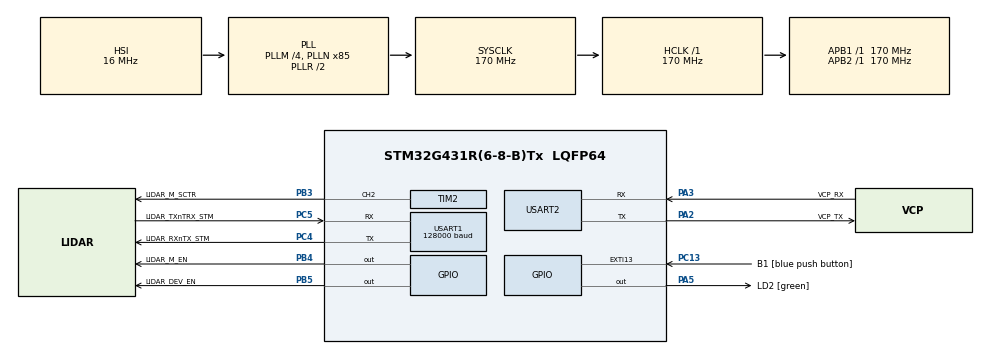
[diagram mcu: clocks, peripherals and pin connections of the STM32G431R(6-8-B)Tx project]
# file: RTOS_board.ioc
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Dma.Request0=USART2_TX
Dma.Request1=USART1_TX
Dma.Request2=USART1_RX
Dma.USART1_RX.2.Direction=DMA_PERIPH_TO_MEMORY
Dma.USART1_RX.2.EventEnable=DISABLE
Dma.USART1_RX.2.Instance=DMA1_Channel2
Dma.USART1_RX.2.MemDataAlignment=DMA_MDATAALIGN_BYTE
Dma.USART1_RX.2.MemInc=DMA_MINC_ENABLE
Dma.USART1_RX.2.Mode=DMA_CIRCULAR
Dma.USART1_RX.2.PeriphDataAlignment=DMA_PDATAALIGN_BYTE
Dma.USART1_RX.2.PeriphInc=DMA_PINC_DISABLE
Dma.USART1_RX.2.Polarity=HAL_DMAMUX_REQ_GEN_RISING
Dma.USART1_RX.2.Priority=DMA_PRIORITY_VERY_HIGH
Dma.USART1_RX.2.RequestNumber=1
Dma.USART1_RX.2.SignalID=NONE
Dma.USART1_RX.2.SyncEnable=DISABLE
Dma.USART1_RX.2.SyncPolarity=HAL_DMAMUX_SYNC_NO_EVENT
Dma.USART1_RX.2.SyncRequestNumber=1
Dma.USART1_RX.2.SyncSignalID=NONE
Dma.USART1_TX.1.Direction=DMA_MEMORY_TO_PERIPH
Dma.USART1_TX.1.EventEnable=DISABLE
Dma.USART1_TX.1.Instance=DMA1_Channel3
Dma.USART1_TX.1.MemDataAlignment=DMA_MDATAALIGN_BYTE
Dma.USART1_TX.1.MemInc=DMA_MINC_ENABLE
Dma.USART1_TX.1.Mode=DMA_NORMAL
Dma.USART1_TX.1.PeriphDataAlignment=DMA_PDATAALIGN_BYTE
Dma.USART1_TX.1.PeriphInc=DMA_PINC_DISABLE
Dma.USART1_TX.1.Polarity=HAL_DMAMUX_REQ_GEN_RISING
Dma.USART1_TX.1.Priority=DMA_PRIORITY_VERY_HIGH
Dma.USART1_TX.1.RequestNumber=1
Dma.USART1_TX.1.SignalID=NONE
Dma.USART1_TX.1.SyncEnable=DISABLE
Dma.USART1_TX.1.SyncPolarity=HAL_DMAMUX_SYNC_NO_EVENT
Dma.USART1_TX.1.SyncRequestNumber=1
Dma.USART1_TX.1.SyncSignalID=NONE
Dma.USART2_TX.0.Direction=DMA_MEMORY_TO_PERIPH
Dma.USART2_TX.0.EventEnable=DISABLE
Dma.USART2_TX.0.Instance=DMA1_Channel1
Dma.USART2_TX.0.MemDataAlignment=DMA_MDATAALIGN_BYTE
Dma.USART2_TX.0.MemInc=DMA_MINC_ENABLE
Dma.USART2_TX.0.Mode=DMA_NORMAL
Dma.USART2_TX.0.PeriphDataAlignment=DMA_PDATAALIGN_BYTE
Dma.USART2_TX.0.PeriphInc=DMA_PINC_DISABLE
Dma.USART2_TX.0.Polarity=HAL_DMAMUX_REQ_GEN_RISING
Dma.USART2_TX.0.Priority=DMA_PRIORITY_HIGH
Dma.USART2_TX.0.RequestNumber=1
Dma.USART2_TX.0.SignalID=NONE
Dma.USART2_TX.0.SyncEnable=DISABLE
Dma.USART2_TX.0.SyncPolarity=HAL_DMAMUX_SYNC_NO_EVENT
Dma.USART2_TX.0.SyncRequestNumber=1
Dma.USART2_TX.0.SyncSignalID=NONE
FREERTOS.Tasks01=defaultTask,0,128,StartDefaultTask,Default,NULL,Dynamic,NULL,NULL
FREERTOS.configUSE_NEWLIB_REENTRANT=1
Mcu.Family=STM32G4
Mcu.Name=STM32G431R(6-8-B)Tx
Mcu.Package=LQFP64
NVIC.DMA1_Channel1_IRQn=true\:5\:0\:false\:false\:true\:true\:false\:true\:true
NVIC.DMA1_Channel2_IRQn=true\:5\:0\:false\:false\:true\:true\:false\:true\:true
NVIC.DMA1_Channel3_IRQn=true\:5\:0\:false\:false\:true\:true\:false\:true\:true
NVIC.PriorityGroup=NVIC_PRIORITYGROUP_4
NVIC.TIM1_UP_TIM16_IRQn=true\:15\:0\:false\:false\:true\:false\:false\:true\:true
NVIC.TimeBase=TIM1_UP_TIM16_IRQn
NVIC.TimeBaseIP=TIM1
NVIC.USART1_IRQn=true\:5\:0\:false\:false\:true\:true\:true\:true\:true
PA13.GPIO_Label=T_SWDIO
PA13.Mode=Serial_Wire
PA13.Signal=SYS_JTMS-SWDIO
PA14.GPIO_Label=T_SWCLK
PA14.Mode=Serial_Wire
PA14.Signal=SYS_JTCK-SWCLK
PA2.GPIO_Label=VCP_TX
PA2.Mode=Asynchronous
PA2.Signal=USART2_TX
PA3.GPIO_Label=VCP_RX
PA3.Mode=Asynchronous
PA3.Signal=USART2_RX
PA5.GPIO_Label=LD2 [green]
PA5.Signal=GPIO_Output
PB3.GPIO_Label=LIDAR_M_SCTR
PB3.Signal=S_TIM2_CH2
PB4.GPIO_Label=LIDAR_M_EN
PB4.Signal=GPIO_Output
PB5.GPIO_Label=LIDAR_DEV_EN
PB5.Signal=GPIO_Output
PC13.GPIO_Label=B1 [blue push button]
PC13.Signal=GPXTI13
PC14-OSC32_IN.GPIO_Label=RCC_OSC32_OUT
PC14-OSC32_IN.Signal=RCC_OSC32_IN
PC15-OSC32_OUT.GPIO_Label=RCC_OSC32_OUT
PC15-OSC32_OUT.Signal=RCC_OSC32_OUT
PC4.GPIO_Label=LIDAR_RXnTX_STM
PC4.Mode=Asynchronous
PC4.Signal=USART1_TX
PC5.GPIO_Label=LIDAR_TXnTRX_STM
PC5.Mode=Asynchronous
PC5.Signal=USART1_RX
PF0-OSC_IN.GPIO_Label=RCC_OSC_IN
PF0-OSC_IN.Mode=HSE-External-Oscillator
PF0-OSC_IN.Signal=RCC_OSC_IN
PF1-OSC_OUT.GPIO_Label=RCC_OSC_OUT
PF1-OSC_OUT.Mode=HSE-External-Oscillator
PF1-OSC_OUT.Signal=RCC_OSC_OUT
ProjectManager.HeapSize=0x200
ProjectManager.StackSize=0x400
ProjectManager.TargetToolchain=STM32CubeIDE
RCC.ADC12Freq_Value=170000000
RCC.AHBFreq_Value=170000000
RCC.APB1Freq_Value=170000000
RCC.APB1TimFreq_Value=170000000
RCC.APB2Freq_Value=170000000
RCC.APB2TimFreq_Value=170000000
RCC.CortexFreq_Value=170000000
RCC.EXTERNAL_CLOCK_VALUE=12288000
RCC.HCLKFreq_Value=170000000
RCC.HSE_VALUE=24000000
RCC.HSI48_VALUE=48000000
RCC.HSI_VALUE=16000000
RCC.LSE_VALUE=32768
RCC.PLLM=RCC_PLLM_DIV4
RCC.PLLN=85
RCC.RTCClockSelection=RCC_RTCCLKSOURCE_LSE
RCC.SYSCLKFreq_VALUE=170000000
RCC.SYSCLKSource=RCC_SYSCLKSOURCE_PLLCLK
RCC.USBFreq_Value=170000000
RCC.VCOOutputFreq_Value=340000000
SH.S_TIM2_CH2.0=TIM2_CH2,PWM Generation2 CH2
TIM2.AutoReloadPreload=TIM_AUTORELOAD_PRELOAD_ENABLE
TIM2.Channel-PWM\ Generation2\ CH2=TIM_CHANNEL_2
TIM2.PeriodNoDither=170000-1
TIM2.PulseNoDither_2=85000
USART1.BaudRate=128000
USART1.SwapParam=ADVFEATURE_SWAP_DISABLE
USART1.VirtualMode-Asynchronous=VM_ASYNC
USART2.VirtualMode-Asynchronous=VM_ASYNC
VP_FREERTOS_VS_CMSIS_V1.Mode=CMSIS_V1
VP_SYS_VS_DBSignals.Mode=DisableDeadBatterySignals
VP_SYS_VS_tim1.Mode=TIM1
VP_TIM2_VS_ClockSourceINT.Mode=Internal
board=NUCLEO-G431RB

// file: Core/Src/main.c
/* USER CODE BEGIN Header */
/**
  ******************************************************************************
  * @file           : main.c
  * @brief          : Main program body
  ******************************************************************************
  * @attention
  *
  * Copyright (c) 2024 STMicroelectronics.
  * All rights reserved.
  *
  * This software is licensed under terms that can be found in the LICENSE file
  * in the root directory of this software component.
  * If no LICENSE file comes with this software, it is provided AS-IS.
  *
  ******************************************************************************
  */
/* USER CODE END Header */
#include "main.h"
#include "cmsis_os.h"
#include "dma.h"
#include "tim.h"
#include "usart.h"
#include "gpio.h"

/* USER CODE BEGIN PM */
int __io_putchar(int ch)
{
	HAL_UART_Transmit(&huart2, (uint8_t*)&ch, 1, HAL_MAX_DELAY);
	return ch;
}
/* USER CODE END PM */

void SystemClock_Config(void);
void MX_FREERTOS_Init(void);

int main(void)
{

  /* MCU Configuration--------------------------------------------------------*/

  /* Reset of all peripherals, Initializes the Flash interface and the Systick. */
  HAL_Init();

  /* Configure the system clock */
  SystemClock_Config();

  /* Initialize all configured peripherals */
  MX_GPIO_Init();
  MX_DMA_Init();
  MX_TIM2_Init();
  MX_USART1_UART_Init();
  MX_USART2_UART_Init();

  /* Call init function for freertos objects (in cmsis_os2.c) */
  MX_FREERTOS_Init();

  /* Start scheduler */
  osKernelStart();

  /* We should never get here as control is now taken by the scheduler */

  /* Infinite loop */
  while (1)
  {

  }
}

void SystemClock_Config(void)
{
  RCC_OscInitTypeDef RCC_OscInitStruct = {0};
  RCC_ClkInitTypeDef RCC_ClkInitStruct = {0};

  /** Configure the main internal regulator output voltage
  */
  HAL_PWREx_ControlVoltageScaling(PWR_REGULATOR_VOLTAGE_SCALE1_BOOST);

  /** Initializes the RCC Oscillators according to the specified parameters
  * in the RCC_OscInitTypeDef structure.
  */
  RCC_OscInitStruct.OscillatorType = RCC_OSCILLATORTYPE_HSI;
  RCC_OscInitStruct.HSIState = RCC_HSI_ON;
  RCC_OscInitStruct.HSICalibrationValue = RCC_HSICALIBRATION_DEFAULT;
  RCC_OscInitStruct.PLL.PLLState = RCC_PLL_ON;
  RCC_OscInitStruct.PLL.PLLSource = RCC_PLLSOURCE_HSI;
  RCC_OscInitStruct.PLL.PLLM = RCC_PLLM_DIV4;
  RCC_OscInitStruct.PLL.PLLN = 85;
  RCC_OscInitStruct.PLL.PLLP = RCC_PLLP_DIV2;
  RCC_OscInitStruct.PLL.PLLQ = RCC_PLLQ_DIV2;
  RCC_OscInitStruct.PLL.PLLR = RCC_PLLR_DIV2;
  if (HAL_RCC_OscConfig(&RCC_OscInitStruct) != HAL_OK)
  {
    Error_Handler();
  }

  /** Initializes the CPU, AHB and APB buses clocks
  */
  RCC_ClkInitStruct.ClockType = RCC_CLOCKTYPE_HCLK|RCC_CLOCKTYPE_SYSCLK
                              |RCC_CLOCKTYPE_PCLK1|RCC_CLOCKTYPE_PCLK2;
  RCC_ClkInitStruct.SYSCLKSource = RCC_SYSCLKSOURCE_PLLCLK;
  RCC_ClkInitStruct.AHBCLKDivider = RCC_SYSCLK_DIV1;
  RCC_ClkInitStruct.APB1CLKDivider = RCC_HCLK_DIV1;
  RCC_ClkInitStruct.APB2CLKDivider = RCC_HCLK_DIV1;

  if (HAL_RCC_ClockConfig(&RCC_ClkInitStruct, FLASH_LATENCY_4) != HAL_OK)
  {
    Error_Handler();
  }
}

void HAL_TIM_PeriodElapsedCallback(TIM_HandleTypeDef *htim)
{
  if (htim->Instance == TIM1) {
    HAL_IncTick();
  }
}

void Error_Handler(void)
{
  __disable_irq();
  while (1)
  {
  }
}

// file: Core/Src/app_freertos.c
/* USER CODE BEGIN Header */
/**
 ******************************************************************************
 * File Name          : app_freertos.c
 * Description        : Code for freertos applications
 ******************************************************************************
 * @attention
 *
 * Copyright (c) 2024 STMicroelectronics.
 * All rights reserved.
 *
 * This software is licensed under terms that can be found in the LICENSE file
 * in the root directory of this software component.
 * If no LICENSE file comes with this software, it is provided AS-IS.
 *
 ******************************************************************************
 */
/* USER CODE END Header */

#include "FreeRTOS.h"
#include "task.h"
#include "main.h"
#include "cmsis_os.h"

/* USER CODE BEGIN Includes */
#include "shell.h"
#include "stdio.h"

/* USER CODE END Includes */

/* USER CODE BEGIN Variables */
osThreadId task_shellHandle;

/* USER CODE END Variables */
osThreadId defaultTaskHandle;

/* USER CODE BEGIN FunctionPrototypes */
void shell(void const * argument);
void edgedetection(void * pvParameters);

/* USER CODE END FunctionPrototypes */

void StartDefaultTask(void const * argument);

void MX_FREERTOS_Init(void); /* (MISRA C 2004 rule 8.1) */

void MX_FREERTOS_Init(void) {

	/* Create the thread(s) */
	/* definition and creation of defaultTask */
	osThreadDef(defaultTask, StartDefaultTask, osPriorityNormal, 0, 128);
	defaultTaskHandle = osThreadCreate(osThread(defaultTask), NULL);

	/* USER CODE BEGIN RTOS_THREADS */
	/* add threads, ... */
	osThreadDef(task_shell, shell, osPriorityNormal, 0, 128);
	task_shellHandle = osThreadCreate(osThread(task_shell), NULL);
	/* USER CODE END RTOS_THREADS */

}

void StartDefaultTask(void const * argument)
{
	for(;;)
	{
		osDelay(1);
	}
}

/* USER CODE BEGIN Application */
void shell(void const * argument){
	shell_init();
	shell_add('f', fonction, "Une fonction inutile");
	shell_add('a', addition, "Une fonction sommeuses");
	for(;;){
		shell_run();
	}
}
void edgedetection(void * pvParameters){
}
/* USER CODE END Application */
